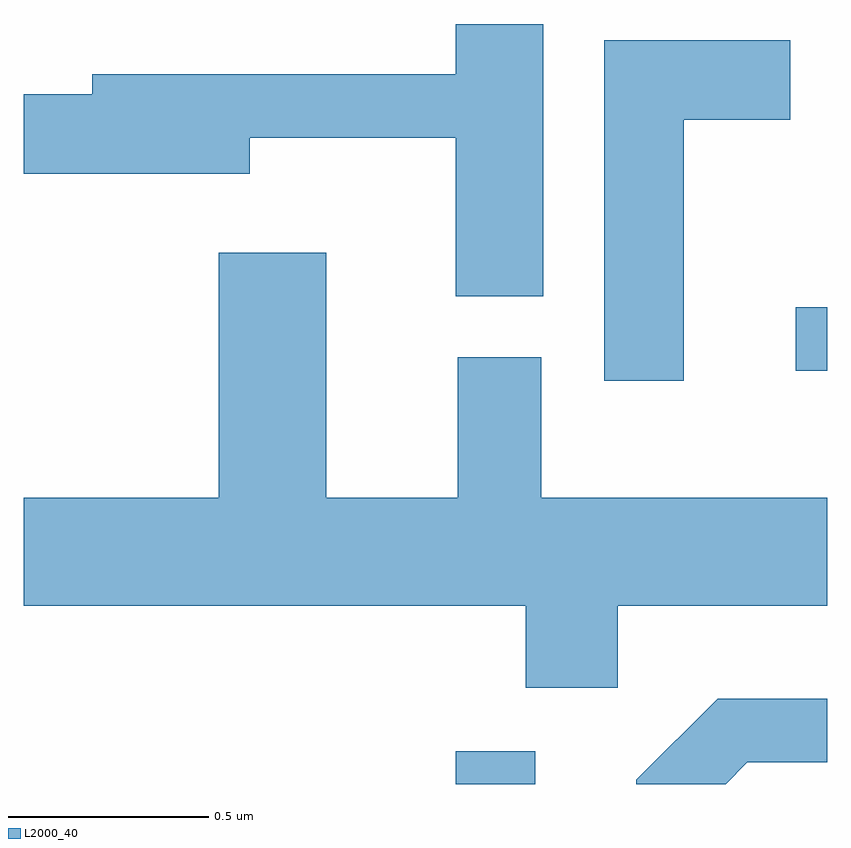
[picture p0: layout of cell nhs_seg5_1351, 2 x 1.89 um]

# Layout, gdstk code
import gdstk
lib = gdstk.Library(unit=1e-6, precision=1e-09)
def R(c, l, rs):  # rectangles x0, y0, x1, y1
    for r in rs: c.add(gdstk.rectangle(r[:2], r[2:], *l))
def P(c, l, *ps):  # polygons
    for p in ps: c.add(gdstk.Polygon(p, *l))
L2000_40 = (2000, 40)

nhs_seg5_1351 = lib.new_cell('nhs_seg5_1351')
R(nhs_seg5_1351, L2000_40, [(195.686,1514.072,195.884,1514.154), (196.533,1515.101,196.611,1515.259)])
P(nhs_seg5_1351, L2000_40, [(195.904,1515.964),(195.686,1515.964),(195.686,1515.839),(194.781,1515.839),(194.781,1515.789),(194.611,1515.789),(194.611,1515.591),(195.174,1515.591),(195.174,1515.681),(195.686,1515.681),(195.686,1515.286),(195.904,1515.286)],
  [(196.254,1515.726),(196.519,1515.726),(196.519,1515.924),(196.056,1515.924),(196.056,1515.076),(196.254,1515.076)],
  [(196.089,1514.516),(196.611,1514.516),(196.611,1514.784),(195.899,1514.784),(195.899,1515.134),(195.691,1515.134),(195.691,1514.784),(195.364,1514.784),(195.364,1515.394),(195.096,1515.394),(195.096,1514.784),(194.611,1514.784),(194.611,1514.516),(195.861,1514.516),(195.861,1514.311),(196.089,1514.311)],
  [(196.412,1514.126),(196.611,1514.126),(196.611,1514.284),(196.339,1514.284),(196.136,1514.082),(196.136,1514.072),(196.358,1514.072)])

lib.write_gds('nhs_seg5_1351.gds')
